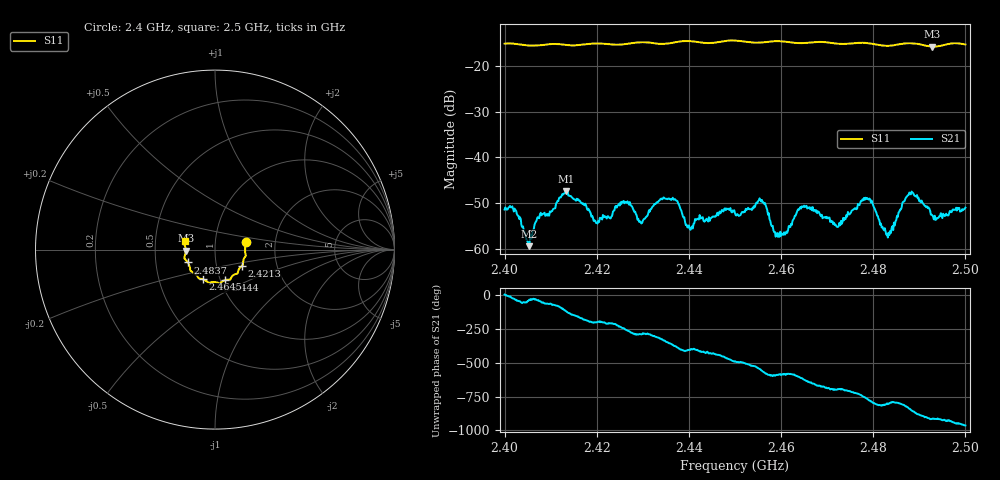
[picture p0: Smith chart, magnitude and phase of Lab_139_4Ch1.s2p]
# Hz S RI R 50
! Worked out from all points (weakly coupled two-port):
!   601 points, 2.4 GHz to 2.5 GHz, reference 50 ohm
!   highest |S21| = -47.40 dB at 2.4133 GHz (marker M1); lowest = -59.5 dB at 2.4053 GHz (marker M2)
!   lowest |S11| = -15.7 dB at 2.4928 GHz (marker M3), VSWR 1.39, Z = 36 - j0.38 ohm
!   |S11| at or under -10 dB: start of sweep to end of sweep
!   S12 and S22 are empty: the file has one direction only
!   S11 on the Smith chart (normalised r, x): 2.4 GHz: 1.41, +0.12; 2.4213 GHz: 1.33, -0.25; 2.444 GHz: 1.06, -0.37; 2.4645 GHz: 0.83, -0.29; 2.4837 GHz: 0.73, -0.11; 2.5 GHz: 0.71, +0.07
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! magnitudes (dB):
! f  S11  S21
! 2.4 GHz  -15.1  -51.5
! 2.4053 GHz  -15.5  -59.5
! 2.4133 GHz  -15.4  -47.4
! 2.4167 GHz  -15.3  -50.0
! 2.4213 GHz  -15.1  -52.6
! 2.4263 GHz  -15.2  -49.8
! 2.4297 GHz  -14.8  -54.5
! 2.4333 GHz  -15.1  -49.7
! 2.44 GHz  -14.5  -54.9
! 2.444 GHz  -15.0  -53.8
! 2.45 GHz  -14.4  -52.2
! 2.4557 GHz  -14.8  -49.7
! 2.4598 GHz  -14.5  -56.3
! 2.4645 GHz  -15.0  -50.7
! 2.4667 GHz  -14.8  -51.6
! 2.4723 GHz  -15.1  -55.3
! 2.4788 GHz  -15.0  -49.1
! 2.4833 GHz  -15.6  -56.5
! 2.4837 GHz  -15.5  -56.1
! 2.4882 GHz  -15.0  -48.1
! 2.4928 GHz  -15.7  -52.7
! 2.5 GHz  -15.3  -51.0
